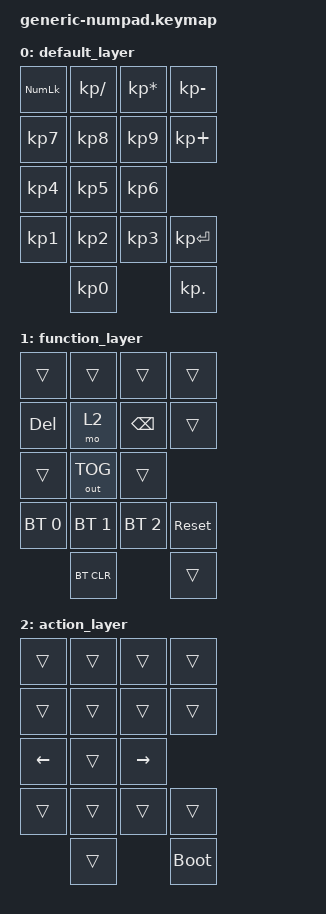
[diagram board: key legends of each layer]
#include <behaviors.dtsi>
#include <dt-bindings/zmk/keys.h>
#include <dt-bindings/zmk/bt.h>
#include <dt-bindings/zmk/outputs.h>




// ------------------default-----------------
// |  NUMLOCK |    /    |    *    |    -    |
// |    7     |    8    |    9    |    +    |
// |    4     |    5    |    6    |         |
// |    1     |    2    |    3    |  ENTER  |
// |          |    0    |         |    .    |


// ----------------------------functions-------------------------------
// |  LAYERSFT  |    NOP             |    NOP    |   Bluetooth PREV   |
// |    NOP     |    LAYERSFT        |    NOP    |   Bluetooth Next   |
// |    NOP     |    OUT_TOG         |    NOP    |                    |
// |Bluetooth 0 |    Bluetooth 1     |Bluetooth 2|   reset            |
// |            |    BluetoothCLR    |           |   NOP              |


// --------------------action layer------------------
// |     NOP   |     NOP   |     NOP   |     NOP    |
// |     NOP   |     NOP   |     NOP   |            |
// |Arrow Left |     NOP   |Arrow Right|     NOP    |
// |     NOP   |     NOP   |     NOP   |     NOP    |
// |           |     NOP   |           | Bootloader |




/ {
    combos {
        compatible = "zmk,combos";
        combo_tab {
            timeout-ms = <50>;
            key-positions = <8 9>;
            bindings = <&kp TAB>;
        };
    };

    keymap {
        compatible = "zmk,keymap";

        default_layer {
            bindings = <
    &kp KP_NUM    &kp KP_DIVIDE  &kp KP_MULTIPLY   &kp KP_MINUS
    &kp KP_N7     &kp KP_N8      &kp KP_N9         &kp KP_PLUS
    &kp KP_N4     &kp KP_N5      &kp KP_N6
    &kp KP_N1     &kp KP_N2      &kp KP_N3         &kp KP_ENTER
                  &kp KP_N0                        &kp KP_DOT 
            >;
        };
        function_layer {
            bindings = <
    &trans       &trans          &trans       &trans
    &kp DEL      &mo 2           &kp BSPC     &trans
    &trans       &out OUT_TOG    &trans
    &bt BT_SEL 0 &bt BT_SEL 1    &bt BT_SEL 2 &sys_reset
                 &bt BT_CLR                   &trans
            >;
        };
        action_layer {
            bindings = <
    &trans       &trans          &trans       &trans
    &trans       &trans          &trans       &trans
    &kp LEFT     &trans          &kp RIGHT
    &trans       &trans          &trans       &trans
                 &trans                       &bootloader
            >;
        };
    };
};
